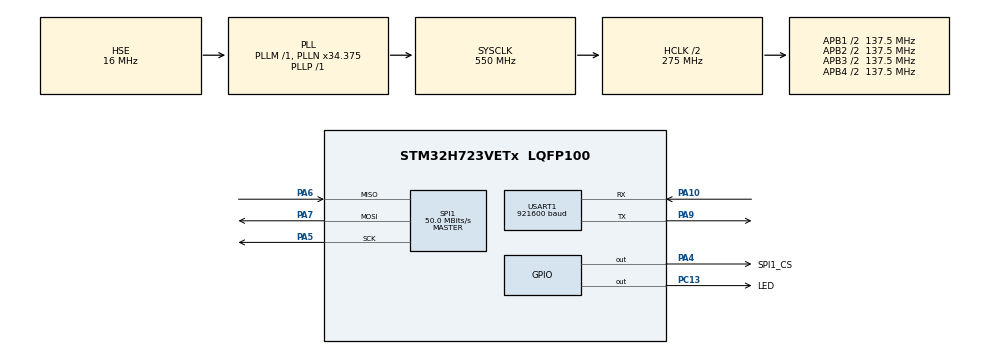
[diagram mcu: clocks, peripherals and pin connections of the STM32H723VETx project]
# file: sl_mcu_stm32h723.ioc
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CORTEX_M7.CPU_ICache=Enabled
CORTEX_M7.default_mode_Activation=1
Mcu.Family=STM32H7
Mcu.Name=STM32H723VETx
Mcu.Package=LQFP100
NVIC.PriorityGroup=NVIC_PRIORITYGROUP_4
PA10.Mode=Asynchronous
PA10.Signal=USART1_RX
PA13(JTMS/SWDIO).Mode=Trace_Asynchronous_SW
PA13(JTMS/SWDIO).Signal=DEBUG_JTMS-SWDIO
PA14(JTCK/SWCLK).Mode=Trace_Asynchronous_SW
PA14(JTCK/SWCLK).Signal=DEBUG_JTCK-SWCLK
PA4.GPIO_Label=SPI1_CS
PA4.GPIO_Speed=GPIO_SPEED_FREQ_HIGH
PA4.PinState=GPIO_PIN_SET
PA4.Signal=GPIO_Output
PA5.GPIO_Speed=GPIO_SPEED_FREQ_VERY_HIGH
PA5.Mode=Full_Duplex_Master
PA5.Signal=SPI1_SCK
PA6.GPIO_Speed=GPIO_SPEED_FREQ_VERY_HIGH
PA6.Mode=Full_Duplex_Master
PA6.Signal=SPI1_MISO
PA7.GPIO_Speed=GPIO_SPEED_FREQ_VERY_HIGH
PA7.Mode=Full_Duplex_Master
PA7.Signal=SPI1_MOSI
PA9.Mode=Asynchronous
PA9.Signal=USART1_TX
PB3(JTDO/TRACESWO).Mode=Trace_Asynchronous_SW
PB3(JTDO/TRACESWO).Signal=DEBUG_JTDO-SWO
PC13.GPIO_Label=LED
PC13.GPIO_ModeDefaultOutputPP=GPIO_MODE_OUTPUT_OD
PC13.GPIO_PuPd=GPIO_NOPULL
PC13.PinState=GPIO_PIN_SET
PC13.Signal=GPIO_Output
PH0-OSC_IN.Mode=HSE-External-Oscillator
PH0-OSC_IN.Signal=RCC_OSC_IN
PH1-OSC_OUT.Mode=HSE-External-Oscillator
PH1-OSC_OUT.Signal=RCC_OSC_OUT
ProjectManager.HeapSize=0x200
ProjectManager.StackSize=0x400
ProjectManager.TargetToolchain=STM32CubeIDE
RCC.ADCFreq_Value=200000000
RCC.APB1Freq_Value=137500000
RCC.APB2Freq_Value=137500000
RCC.APB3Freq_Value=137500000
RCC.APB4Freq_Value=137500000
RCC.CortexFreq_Value=550000000
RCC.D1PPRE=RCC_APB3_DIV2
RCC.D2PPRE1=RCC_APB1_DIV2
RCC.D2PPRE2=RCC_APB2_DIV2
RCC.D3PPRE=RCC_APB4_DIV2
RCC.DIVM1=1
RCC.DIVM2=8
RCC.DIVN1=34
RCC.DIVN2=200
RCC.DIVP1=1
RCC.DIVQ1=3
RCC.HCLKFreq_Value=275000000
RCC.HPRE=RCC_HCLK_DIV2
RCC.HSE_VALUE=16000000
RCC.PLLFRACN=3072
RCC.PLLSourceVirtual=RCC_PLLSOURCE_HSE
RCC.SPI123CLockSelection=RCC_SPI123CLKSOURCE_PLL2
RCC.SYSCLKFreq_VALUE=550000000
RCC.SYSCLKSource=RCC_SYSCLKSOURCE_PLLCLK
RCC.USBFreq_Value=183333333.33333334
SPI1.BaudRatePrescaler=SPI_BAUDRATEPRESCALER_4
SPI1.CLKPhase=SPI_PHASE_1EDGE
SPI1.CalculateBaudRate=50.0 MBits/s
SPI1.DataSize=SPI_DATASIZE_8BIT
SPI1.Direction=SPI_DIRECTION_2LINES
SPI1.MasterInterDataIdleness=SPI_MASTER_INTERDATA_IDLENESS_01CYCLE
SPI1.MasterSSIdleness=SPI_MASTER_SS_IDLENESS_01CYCLE
SPI1.Mode=SPI_MODE_MASTER
SPI1.NSSPMode=SPI_NSS_PULSE_DISABLE
SPI1.VirtualType=VM_MASTER
USART1.BaudRate=921600
USART1.VirtualMode-Asynchronous=VM_ASYNC
VP_CRC_VS_CRC.Mode=CRC_Activate
VP_MEMORYMAP_VS_MEMORYMAP.Mode=CurAppReg
board=custom

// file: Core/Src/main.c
/* USER CODE BEGIN Header */
/**
 ******************************************************************************
 * @file           : main.c
 * @brief          : Main program body
 ******************************************************************************
 * @attention
 *
 * Copyright (c) 2026 Lars Boegild Thomsen <lbthomsen@gmail.com>
 * All rights reserved.
 *
 * This software is licensed under terms that can be found in the LICENSE file
 * in the root directory of this software component.
 * If no LICENSE file comes with this software, it is provided AS-IS.
 *
 ******************************************************************************
 */
/* USER CODE END Header */
#include "main.h"

/* USER CODE BEGIN Includes */
#include <stdio.h>
#include <string.h>
#include "w25qxx.h"
/* USER CODE END Includes */

/* USER CODE BEGIN PD */
#define PAGE_SIZE 4096
/* USER CODE END PD */

CRC_HandleTypeDef hcrc;

SPI_HandleTypeDef hspi1;

UART_HandleTypeDef huart1;

/* USER CODE BEGIN PV */

W25QXX_HandleTypeDef w25qxx; // Handler for all w25qxx operations!

/* USER CODE END PV */

void SystemClock_Config(void);
static void MPU_Config(void);
static void MX_GPIO_Init(void);
static void MX_USART1_UART_Init(void);
static void MX_CRC_Init(void);
static void MX_SPI1_Init(void);

/* USER CODE BEGIN 0 */

// Send printf to uart1
int __io_putchar(int ch) {
    if (ch == '\n') {
        HAL_UART_Transmit(&huart1, (uint8_t*) "\r", 1, HAL_MAX_DELAY);
    }
    if (HAL_UART_Transmit(&huart1, (uint8_t*) &ch, 1, HAL_MAX_DELAY) != HAL_OK) {
        return -1;
    }
    return ch;
}

// Dump hex to serial console
void dump_hex(char *header, uint32_t start, uint8_t *buf, uint32_t len) {
    uint32_t i = 0;

    printf("%s\n", header);

    for (i = 0; i < len; ++i) {

        if (i % 16 == 0) {
            printf("0x%08lx: ", start);
        }

        printf("%02x ", buf[i]);

        if ((i + 1) % 16 == 0) {
            printf("\n");
        }

        ++start;
    }
}

void fill_buffer(uint8_t pattern, uint8_t *buf, uint32_t len) {
    switch (pattern) {
    case 0:
        memset(buf, 0, len);
        break;
    case 1:
        memset(buf, 0xaa, len); // 10101010
        break;
    case 2:
        for (uint32_t i = 0; i < len; ++i)
            buf[i] = i % 256;
        break;
    default:
        printf("Programmer is a moron\n");
    }
}

uint8_t check_buffer(uint8_t pattern, uint8_t *buf, uint32_t len) {

    uint8_t ret = 1;

    switch (pattern) {
    case 0:
        for (uint32_t i = 0; i < len; ++i) {
            if (buf[i] != 0)
                ret = 0;
        }
        break;
    case 1:
        for (uint32_t i = 0; i < len; ++i) {
            if (buf[i] != 0xaa)
                ret = 0;
        }
        break;
    case 2:
        for (uint32_t i = 0; i < len; ++i) {
            if (buf[i] != i % 256)
                ret = 0;
        }
        break;
    default:
        printf("Programmer is a moron\n");
    }

    return ret;
}

uint32_t get_sum(uint8_t *buf, uint32_t len) {
    uint32_t sum = 0;
    for (uint32_t i = 0; i < len; ++i) {
        sum += buf[i];
    }
    return sum;
}

/* USER CODE END 0 */

int main(void)
{

  /* MPU Configuration--------------------------------------------------------*/
  MPU_Config();

  /* Enable the CPU Cache */

  /* Enable I-Cache---------------------------------------------------------*/
  SCB_EnableICache();

  /* MCU Configuration--------------------------------------------------------*/

  /* Reset of all peripherals, Initializes the Flash interface and the Systick. */
  HAL_Init();

  /* Configure the system clock */
  SystemClock_Config();

  /* Initialize all configured peripherals */
  MX_GPIO_Init();
  MX_USART1_UART_Init();
  MX_CRC_Init();
  MX_SPI1_Init();
  /* USER CODE BEGIN 2 */

    printf("\n\n\n--------\nCore and peripherals has been initialized\n");

    HAL_Delay(1000); // Wait a bit to make sure the w25qxx is ready

    W25QXX_result_t res;

    res = w25qxx_init(&w25qxx, &hspi1, SPI1_CS_GPIO_Port, SPI1_CS_Pin);

    if (res == W25QXX_Ok) {
        printf("W25QXX successfully initialized\n");
        printf("Manufacturer       = 0x%2x\n", w25qxx.manufacturer_id);
        printf("Device             = 0x%4x\n", w25qxx.device_id);
        printf("Block size         = 0x%04lx (%lu)\n", w25qxx.block_size, w25qxx.block_size);
        printf("Block count        = 0x%04lx (%lu)\n", w25qxx.block_count, w25qxx.block_count);
        printf("Sector size        = 0x%04lx (%lu)\n", w25qxx.sector_size, w25qxx.sector_size);
        printf("Sectors per block  = 0x%04lx (%lu)\n", w25qxx.sectors_in_block, w25qxx.sectors_in_block);
        printf("Page size          = 0x%04lx (%lu)\n", w25qxx.page_size, w25qxx.page_size);
        printf("Pages per sector   = 0x%04lx (%lu)\n", w25qxx.pages_in_sector, w25qxx.pages_in_sector);
        printf("Total size (in kB) = 0x%04lx (%lu)\n", (w25qxx.block_count * w25qxx.block_size) / 1024, (w25qxx.block_count * w25qxx.block_size) / 1024);
    } else {
        printf("Unable to initialize w25qxx\n");
    }

    HAL_Delay(100);

    uint8_t buf[PAGE_SIZE]; // Buffer the size of a page

    for (uint8_t run = 0; run <= 2; ++run) {

        printf("\n-------------\nRun %d\n", run);

        printf("Reading first page\n");

        res = w25qxx_read(&w25qxx, 0, (uint8_t*) &buf, sizeof(buf));
        if (res == W25QXX_Ok) {
            dump_hex("First page at start", 0, (uint8_t*) &buf, sizeof(buf));
        } else {
            printf("Unable to read w25qxx\n");
        }

        printf("Erasing first page\n");
        if (w25qxx_erase(&w25qxx, 0, sizeof(buf)) == W25QXX_Ok) {
            printf("Reading first page\n");
            if (w25qxx_read(&w25qxx, 0, (uint8_t*) &buf, sizeof(buf)) == W25QXX_Ok) {
                dump_hex("After erase", 0, (uint8_t*) &buf, sizeof(buf));
            }
        }

        // Create a well known pattern
        fill_buffer(run, buf, sizeof(buf));

        // Write it to device
        printf("Writing first page\n");
        if (w25qxx_write(&w25qxx, 0, (uint8_t*) &buf, sizeof(buf)) == W25QXX_Ok) {
            // now read it back
            printf("Reading first page\n");
            if (w25qxx_read(&w25qxx, 0, (uint8_t*) &buf, sizeof(buf)) == W25QXX_Ok) {
                //DBG("  - sum = %lu", get_sum(buf, 256));
                dump_hex("After write", 0, (uint8_t*) &buf, sizeof(buf));
            }
        }
    }

    // Let's do a stress test
    uint32_t start;
    uint32_t sectors = w25qxx.block_count * w25qxx.sectors_in_block; // Entire chip

    printf("Stress testing w25qxx device: sectors = %lu\n", sectors);

    printf("Doing chip erase\n");
    start = HAL_GetTick();
    w25qxx_chip_erase(&w25qxx);
    printf("Done erasing - took %lu ms\n", HAL_GetTick() - start);

    fill_buffer(0, buf, sizeof(buf));

    printf("Writing all zeroes %lu sectors\n", sectors);
    start = HAL_GetTick();
    for (uint32_t i = 0; i < sectors; ++i) {
        w25qxx_write(&w25qxx, i * w25qxx.sector_size, buf, sizeof(buf));
    }
    printf("Done writing - took %lu ms\n", HAL_GetTick() - start);

    printf("Reading %lu sectors\n", sectors);
    start = HAL_GetTick();
    for (uint32_t i = 0; i < sectors; ++i) {
        w25qxx_read(&w25qxx, i * w25qxx.sector_size, buf, sizeof(buf));
    }
    printf("Done reading - took %lu ms\n", HAL_GetTick() - start);

    printf("Validating buffer .... ");
    if (check_buffer(0, buf, sizeof(buf))) {
        printf("OK\n");
    } else {
        printf("Not OK\n");
    }

    printf("Doing chip erase\n");
    start = HAL_GetTick();
    w25qxx_chip_erase(&w25qxx);
    printf("Done erasing - took %lu ms\n", HAL_GetTick() - start);

    fill_buffer(1, buf, sizeof(buf));

    printf("Writing 10101010 %lu sectors\n", sectors);
    start = HAL_GetTick();
    for (uint32_t i = 0; i < sectors; ++i) {
        w25qxx_write(&w25qxx, i * w25qxx.sector_size, buf, sizeof(buf));
    }
    printf("Done writing - took %lu ms\n", HAL_GetTick() - start);

    printf("Reading %lu sectors\n", sectors);
    start = HAL_GetTick();
    for (uint32_t i = 0; i < sectors; ++i) {
        w25qxx_read(&w25qxx, i * w25qxx.sector_size, buf, sizeof(buf));
    }
    printf("Done reading - took %lu ms\n", HAL_GetTick() - start);

    printf("Validating buffer ... ");
    if (check_buffer(1, buf, sizeof(buf))) {
        printf("OK\n");
    } else {
        printf("Not OK\n");
    }

    printf("Erasing %lu sectors sequentially\n", sectors);
    start = HAL_GetTick();
    for (uint32_t i = 0; i < sectors; ++i) {
        w25qxx_erase(&w25qxx, i * w25qxx.sector_size, sizeof(buf));
        if ((i > 0) && (i % 100 == 0)) {
            printf("Done %4lu sectors - total time = %3lu s\n", i, (HAL_GetTick() - start) / 1000);
        }
    }
    printf("Done erasing - took %lu ms\n", HAL_GetTick() - start);

  /* USER CODE END 2 */

  /* Infinite loop */
  /* USER CODE BEGIN WHILE */
    uint32_t now = 0, last_blink = 0, last_test = 0, offset_address = 0;

    while (1) {

        now = HAL_GetTick();

        if (now - last_blink >= 500) {

            HAL_GPIO_TogglePin(LED_GPIO_Port, LED_Pin);

            last_blink = now;
        }

        if (now - last_test >= 10000) {

            printf("---------------\nReading page at address     : 0x%08lx\n", offset_address);

            res = w25qxx_read(&w25qxx, offset_address, (uint8_t*) &buf, sizeof(buf));
            if (res == W25QXX_Ok) {
                //dump_hex("First page at start", offset_address, (uint8_t*) &buf, sizeof(buf));
                printf("Reading old value           : 0x%08lx\n", HAL_CRC_Calculate(&hcrc, (uint32_t*) &buf, sizeof(buf) / 4));
            } else {
                printf("Unable to read w25qxx\n");
            }

            // DBG("Erasing page");
            if (w25qxx_erase(&w25qxx, offset_address, sizeof(buf)) == W25QXX_Ok) {
                if (w25qxx_read(&w25qxx, offset_address, (uint8_t*) &buf, sizeof(buf)) == W25QXX_Ok) {
                    printf("After erase                 : 0x%08lx\n", HAL_CRC_Calculate(&hcrc, (uint32_t*) &buf, sizeof(buf) / 4));
                }
            }

            // Create a well known pattern
            fill_buffer(2, buf, sizeof(buf));

            // Write it to device
            printf("Writing page value          : 0x%08lx\n", HAL_CRC_Calculate(&hcrc, (uint32_t*) &buf, sizeof(buf) / 4));
            if (w25qxx_write(&w25qxx, offset_address, (uint8_t*) &buf, sizeof(buf)) == W25QXX_Ok) {
                // now read it back
                //DBG("Reading page");
                if (w25qxx_read(&w25qxx, offset_address, (uint8_t*) &buf, sizeof(buf)) == W25QXX_Ok) {
                    printf("Reading back                : 0x%08lx\n", HAL_CRC_Calculate(&hcrc, (uint32_t*) &buf, sizeof(buf) / 4));
                }
            }

            printf("Test time                   : %lu ms\n", HAL_GetTick() - now);

            offset_address += PAGE_SIZE / 4;

            if (offset_address + PAGE_SIZE > w25qxx.block_count * w25qxx.block_size)
                offset_address = 0;

            last_test = now;
        }

    /* USER CODE END WHILE */

    }
}

void SystemClock_Config(void)
{
  RCC_OscInitTypeDef RCC_OscInitStruct = {0};
  RCC_ClkInitTypeDef RCC_ClkInitStruct = {0};

  /** Supply configuration update enable
  */
  HAL_PWREx_ConfigSupply(PWR_LDO_SUPPLY);

  /** Configure the main internal regulator output voltage
  */
  __HAL_PWR_VOLTAGESCALING_CONFIG(PWR_REGULATOR_VOLTAGE_SCALE0);

  while(!__HAL_PWR_GET_FLAG(PWR_FLAG_VOSRDY)) {}

  /** Initializes the RCC Oscillators according to the specified parameters
  * in the RCC_OscInitTypeDef structure.
  */
  RCC_OscInitStruct.OscillatorType = RCC_OSCILLATORTYPE_HSE;
  RCC_OscInitStruct.HSEState = RCC_HSE_ON;
  RCC_OscInitStruct.PLL.PLLState = RCC_PLL_ON;
  RCC_OscInitStruct.PLL.PLLSource = RCC_PLLSOURCE_HSE;
  RCC_OscInitStruct.PLL.PLLM = 1;
  RCC_OscInitStruct.PLL.PLLN = 34;
  RCC_OscInitStruct.PLL.PLLP = 1;
  RCC_OscInitStruct.PLL.PLLQ = 3;
  RCC_OscInitStruct.PLL.PLLR = 2;
  RCC_OscInitStruct.PLL.PLLRGE = RCC_PLL1VCIRANGE_3;
  RCC_OscInitStruct.PLL.PLLVCOSEL = RCC_PLL1VCOWIDE;
  RCC_OscInitStruct.PLL.PLLFRACN = 3072;
  if (HAL_RCC_OscConfig(&RCC_OscInitStruct) != HAL_OK)
  {
    Error_Handler();
  }

  /** Initializes the CPU, AHB and APB buses clocks
  */
  RCC_ClkInitStruct.ClockType = RCC_CLOCKTYPE_HCLK|RCC_CLOCKTYPE_SYSCLK
                              |RCC_CLOCKTYPE_PCLK1|RCC_CLOCKTYPE_PCLK2
                              |RCC_CLOCKTYPE_D3PCLK1|RCC_CLOCKTYPE_D1PCLK1;
  RCC_ClkInitStruct.SYSCLKSource = RCC_SYSCLKSOURCE_PLLCLK;
  RCC_ClkInitStruct.SYSCLKDivider = RCC_SYSCLK_DIV1;
  RCC_ClkInitStruct.AHBCLKDivider = RCC_HCLK_DIV2;
  RCC_ClkInitStruct.APB3CLKDivider = RCC_APB3_DIV2;
  RCC_ClkInitStruct.APB1CLKDivider = RCC_APB1_DIV2;
  RCC_ClkInitStruct.APB2CLKDivider = RCC_APB2_DIV2;
  RCC_ClkInitStruct.APB4CLKDivider = RCC_APB4_DIV2;

  if (HAL_RCC_ClockConfig(&RCC_ClkInitStruct, FLASH_LATENCY_3) != HAL_OK)
  {
    Error_Handler();
  }
}

static void MX_CRC_Init(void)
{

  hcrc.Instance = CRC;
  hcrc.Init.DefaultPolynomialUse = DEFAULT_POLYNOMIAL_ENABLE;
  hcrc.Init.DefaultInitValueUse = DEFAULT_INIT_VALUE_ENABLE;
  hcrc.Init.InputDataInversionMode = CRC_INPUTDATA_INVERSION_NONE;
  hcrc.Init.OutputDataInversionMode = CRC_OUTPUTDATA_INVERSION_DISABLE;
  hcrc.InputDataFormat = CRC_INPUTDATA_FORMAT_BYTES;
  if (HAL_CRC_Init(&hcrc) != HAL_OK)
  {
    Error_Handler();
  }

}

static void MX_SPI1_Init(void)
{

  /* SPI1 parameter configuration*/
  hspi1.Instance = SPI1;
  hspi1.Init.Mode = SPI_MODE_MASTER;
  hspi1.Init.Direction = SPI_DIRECTION_2LINES;
  hspi1.Init.DataSize = SPI_DATASIZE_8BIT;
  hspi1.Init.CLKPolarity = SPI_POLARITY_LOW;
  hspi1.Init.CLKPhase = SPI_PHASE_1EDGE;
  hspi1.Init.NSS = SPI_NSS_SOFT;
  hspi1.Init.BaudRatePrescaler = SPI_BAUDRATEPRESCALER_4;
  hspi1.Init.FirstBit = SPI_FIRSTBIT_MSB;
  hspi1.Init.TIMode = SPI_TIMODE_DISABLE;
  hspi1.Init.CRCCalculation = SPI_CRCCALCULATION_DISABLE;
  hspi1.Init.CRCPolynomial = 0x0;
  hspi1.Init.NSSPMode = SPI_NSS_PULSE_DISABLE;
  hspi1.Init.NSSPolarity = SPI_NSS_POLARITY_LOW;
  hspi1.Init.FifoThreshold = SPI_FIFO_THRESHOLD_01DATA;
  hspi1.Init.TxCRCInitializationPattern = SPI_CRC_INITIALIZATION_ALL_ZERO_PATTERN;
  hspi1.Init.RxCRCInitializationPattern = SPI_CRC_INITIALIZATION_ALL_ZERO_PATTERN;
  hspi1.Init.MasterSSIdleness = SPI_MASTER_SS_IDLENESS_01CYCLE;
  hspi1.Init.MasterInterDataIdleness = SPI_MASTER_INTERDATA_IDLENESS_01CYCLE;
  hspi1.Init.MasterReceiverAutoSusp = SPI_MASTER_RX_AUTOSUSP_DISABLE;
  hspi1.Init.MasterKeepIOState = SPI_MASTER_KEEP_IO_STATE_DISABLE;
  hspi1.Init.IOSwap = SPI_IO_SWAP_DISABLE;
  if (HAL_SPI_Init(&hspi1) != HAL_OK)
  {
    Error_Handler();
  }

}

static void MX_USART1_UART_Init(void)
{

  huart1.Instance = USART1;
  huart1.Init.BaudRate = 921600;
  huart1.Init.WordLength = UART_WORDLENGTH_8B;
  huart1.Init.StopBits = UART_STOPBITS_1;
  huart1.Init.Parity = UART_PARITY_NONE;
  huart1.Init.Mode = UART_MODE_TX_RX;
  huart1.Init.HwFlowCtl = UART_HWCONTROL_NONE;
  huart1.Init.OverSampling = UART_OVERSAMPLING_16;
  huart1.Init.OneBitSampling = UART_ONE_BIT_SAMPLE_DISABLE;
  huart1.Init.ClockPrescaler = UART_PRESCALER_DIV1;
  huart1.AdvancedInit.AdvFeatureInit = UART_ADVFEATURE_NO_INIT;
  if (HAL_UART_Init(&huart1) != HAL_OK)
  {
    Error_Handler();
  }
  if (HAL_UARTEx_SetTxFifoThreshold(&huart1, UART_TXFIFO_THRESHOLD_1_8) != HAL_OK)
  {
    Error_Handler();
  }
  if (HAL_UARTEx_SetRxFifoThreshold(&huart1, UART_RXFIFO_THRESHOLD_1_8) != HAL_OK)
  {
    Error_Handler();
  }
  if (HAL_UARTEx_DisableFifoMode(&huart1) != HAL_OK)
  {
    Error_Handler();
  }

}

static void MX_GPIO_Init(void)
{
  GPIO_InitTypeDef GPIO_InitStruct = {0};

  /* GPIO Ports Clock Enable */
  __HAL_RCC_GPIOC_CLK_ENABLE();
  __HAL_RCC_GPIOH_CLK_ENABLE();
  __HAL_RCC_GPIOA_CLK_ENABLE();
  __HAL_RCC_GPIOB_CLK_ENABLE();

  /*Configure GPIO pin Output Level */
  HAL_GPIO_WritePin(LED_GPIO_Port, LED_Pin, GPIO_PIN_SET);

  /*Configure GPIO pin Output Level */
  HAL_GPIO_WritePin(SPI1_CS_GPIO_Port, SPI1_CS_Pin, GPIO_PIN_SET);

  /*Configure GPIO pin : LED_Pin */
  GPIO_InitStruct.Pin = LED_Pin;
  GPIO_InitStruct.Mode = GPIO_MODE_OUTPUT_OD;
  GPIO_InitStruct.Pull = GPIO_NOPULL;
  GPIO_InitStruct.Speed = GPIO_SPEED_FREQ_LOW;
  HAL_GPIO_Init(LED_GPIO_Port, &GPIO_InitStruct);

  /*Configure GPIO pin : SPI1_CS_Pin */
  GPIO_InitStruct.Pin = SPI1_CS_Pin;
  GPIO_InitStruct.Mode = GPIO_MODE_OUTPUT_PP;
  GPIO_InitStruct.Pull = GPIO_NOPULL;
  GPIO_InitStruct.Speed = GPIO_SPEED_FREQ_HIGH;
  HAL_GPIO_Init(SPI1_CS_GPIO_Port, &GPIO_InitStruct);

}

 /* MPU Configuration */

void MPU_Config(void)
{
  MPU_Region_InitTypeDef MPU_InitStruct = {0};

  /* Disables the MPU */
  HAL_MPU_Disable();

  /** Initializes and configures the Region and the memory to be protected
  */
  MPU_InitStruct.Enable = MPU_REGION_ENABLE;
  MPU_InitStruct.Number = MPU_REGION_NUMBER0;
  MPU_InitStruct.BaseAddress = 0x0;
  MPU_InitStruct.Size = MPU_REGION_SIZE_4GB;
  MPU_InitStruct.SubRegionDisable = 0x87;
  MPU_InitStruct.TypeExtField = MPU_TEX_LEVEL0;
  MPU_InitStruct.AccessPermission = MPU_REGION_NO_ACCESS;
  MPU_InitStruct.DisableExec = MPU_INSTRUCTION_ACCESS_DISABLE;
  MPU_InitStruct.IsShareable = MPU_ACCESS_SHAREABLE;
  MPU_InitStruct.IsCacheable = MPU_ACCESS_NOT_CACHEABLE;
  MPU_InitStruct.IsBufferable = MPU_ACCESS_NOT_BUFFERABLE;

  HAL_MPU_ConfigRegion(&MPU_InitStruct);
  /* Enables the MPU */
  HAL_MPU_Enable(MPU_PRIVILEGED_DEFAULT);

}

void Error_Handler(void)
{
    __disable_irq();
    while (1)
    {
    }
}
